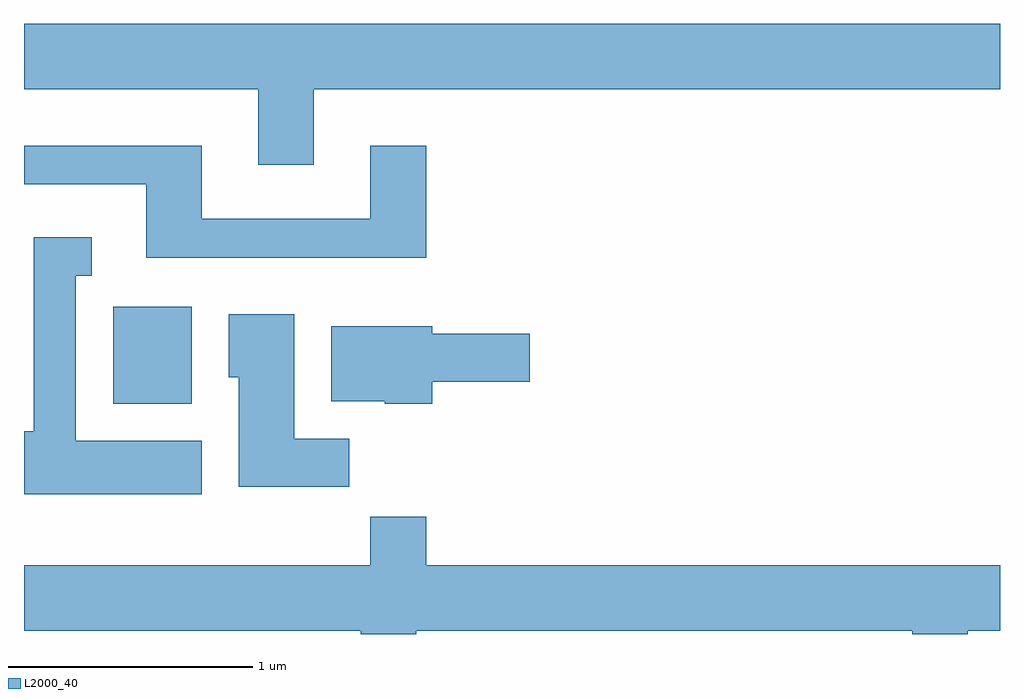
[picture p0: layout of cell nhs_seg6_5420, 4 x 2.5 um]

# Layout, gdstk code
import gdstk
lib = gdstk.Library(unit=1e-6, precision=1e-09)
def R(c, l, rs):  # rectangles x0, y0, x1, y1
    for r in rs: c.add(gdstk.rectangle(r[:2], r[2:], *l))
def P(c, l, *ps):  # polygons
    for p in ps: c.add(gdstk.Polygon(p, *l))
L2000_40 = (2000, 40)

nhs_seg6_5420 = lib.new_cell('nhs_seg6_5420')
R(nhs_seg6_5420, L2000_40, [(349.976,1633.106,350.299,1633.504)])
P(nhs_seg6_5420, L2000_40, [(350.799,1634.396),(353.611,1634.396),(353.611,1634.664),(349.611,1634.664),(349.611,1634.396),(350.571,1634.396),(350.571,1634.086),(350.799,1634.086)],
  [(351.259,1634.164),(351.031,1634.164),(351.031,1633.864),(350.339,1633.864),(350.339,1634.164),(349.611,1634.164),(349.611,1634.006),(350.111,1634.006),(350.111,1633.706),(351.259,1633.706)],
  [(350.339,1632.954),(349.824,1632.954),(349.824,1633.631),(349.888,1633.631),(349.888,1633.789),(349.651,1633.789),(349.651,1632.994),(349.611,1632.994),(349.611,1632.736),(350.339,1632.736)],
  [(350.944,1632.964),(350.719,1632.964),(350.719,1633.474),(350.451,1633.474),(350.451,1633.216),(350.491,1633.216),(350.491,1632.766),(350.944,1632.766)],
  [(351.284,1633.196),(351.684,1633.196),(351.684,1633.394),(351.284,1633.394),(351.284,1633.424),(350.871,1633.424),(350.871,1633.116),(351.09,1633.116),(351.09,1633.106),(351.284,1633.106)],
  [(351.219,1632.176),(353.251,1632.176),(353.251,1632.162),(353.479,1632.162),(353.479,1632.176),(353.611,1632.176),(353.611,1632.444),(351.259,1632.444),(351.259,1632.644),(351.031,1632.644),(351.031,1632.444),(349.611,1632.444),(349.611,1632.176),(350.991,1632.176),(350.991,1632.162),(351.219,1632.162)])

lib.write_gds('nhs_seg6_5420.gds')
